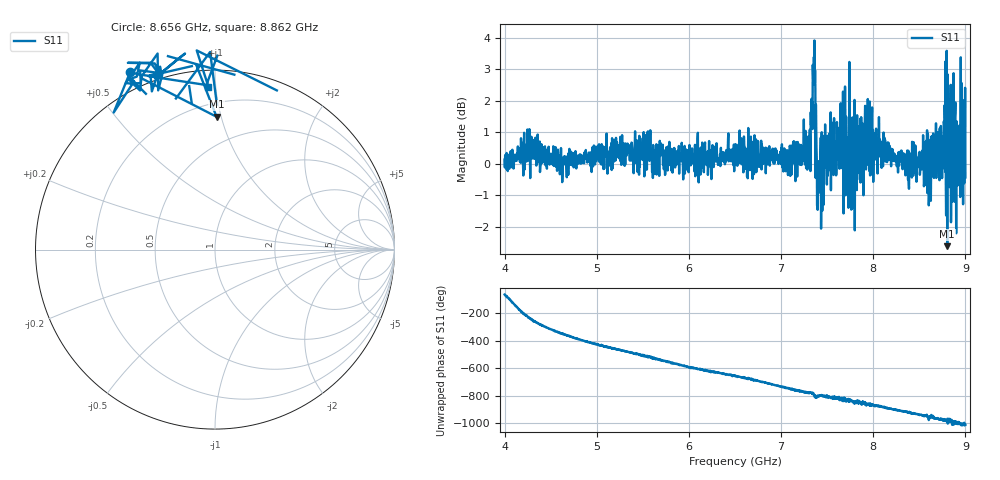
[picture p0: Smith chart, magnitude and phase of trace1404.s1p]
! Created with skrf 1.8.0 (http://scikit-rf.org).
# Hz S RI R 50.0
!freq ReS11 ImS11
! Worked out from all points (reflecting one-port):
!   1601 points, 4 GHz to 9 GHz, reference 50 ohm
!   lowest |S11| = -2.6 dB at 8.803 GHz (marker M1), VSWR 6.70, Z = 14.8 + j48.3 ohm
!   phase of S11 starts at -62 deg and turns -949 deg over the sweep
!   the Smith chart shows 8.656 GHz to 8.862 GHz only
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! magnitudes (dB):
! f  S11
! 4 GHz  0.1
! 4.309 GHz  0.5
! 4.625 GHz  -0.6
! 5.25 GHz  0.2
! 5.875 GHz  0.0
! 6.5 GHz  0.0
! 7.125 GHz  0.0
! 7.294 GHz  0.9
! 7.347 GHz  2.8
! 7.369 GHz  3.0
! 7.397 GHz  -1.5
! 7.412 GHz  -0.9
! 7.478 GHz  1.3
! 7.588 GHz  0.4
! 7.65 GHz  0.8
! 7.75 GHz  0.4
! 7.781 GHz  -1.0
! 7.928 GHz  0.7
! 8.375 GHz  0.0
! 8.441 GHz  -0.1
! 8.612 GHz  -0.7
! 8.656 GHz  0.8
! 8.803 GHz  -2.6
! 8.841 GHz  2.5
! 8.894 GHz  0.1
! 8.919 GHz  -0.7
! 8.972 GHz  0.7
! 9 GHz  -0.4
